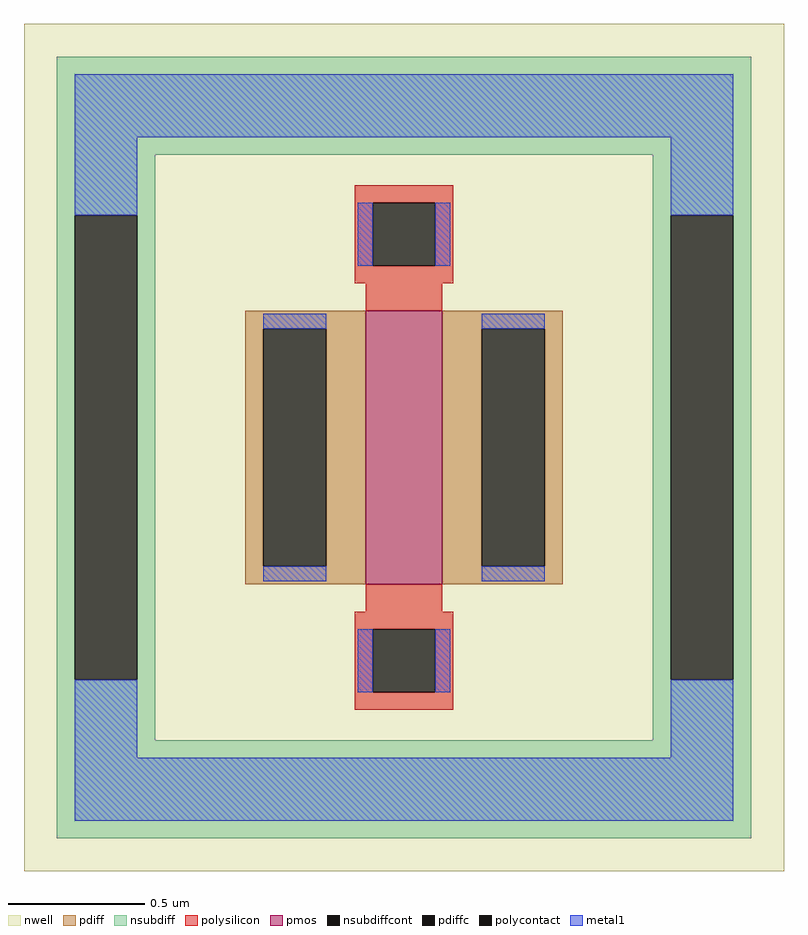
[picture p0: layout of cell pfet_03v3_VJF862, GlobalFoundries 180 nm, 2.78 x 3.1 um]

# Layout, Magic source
magic
tech gf180mcuD
magscale 1 10
<< nwell >>
rect -278 -310 278 310
<< pmos >>
rect -28 -100 28 100
<< pdiff >>
rect -116 87 -28 100
rect -116 -87 -103 87
rect -57 -87 -28 87
rect -116 -100 -28 -87
rect 28 87 116 100
rect 28 -87 57 87
rect 103 -87 116 87
rect 28 -100 116 -87
<< pdiffc >>
rect -103 -87 -57 87
rect 57 -87 103 87
<< nsubdiff >>
rect -254 214 254 286
rect -254 170 -182 214
rect -254 -170 -241 170
rect -195 -170 -182 170
rect 182 170 254 214
rect -254 -214 -182 -170
rect 182 -170 195 170
rect 241 -170 254 170
rect 182 -214 254 -170
rect -254 -286 254 -214
<< nsubdiffcont >>
rect -241 -170 -195 170
rect 195 -170 241 170
<< polysilicon >>
rect -36 179 36 192
rect -36 133 -23 179
rect 23 133 36 179
rect -36 120 36 133
rect -28 100 28 120
rect -28 -120 28 -100
rect -36 -133 36 -120
rect -36 -179 -23 -133
rect 23 -179 36 -133
rect -36 -192 36 -179
<< polycontact >>
rect -23 133 23 179
rect -23 -179 23 -133
<< metal1 >>
rect -241 227 241 273
rect -241 170 -195 227
rect -34 133 -23 179
rect 23 133 34 179
rect 195 170 241 227
rect -103 87 -57 98
rect -103 -98 -57 -87
rect 57 87 103 98
rect 57 -98 103 -87
rect -241 -227 -195 -170
rect -34 -179 -23 -133
rect 23 -179 34 -133
rect 195 -227 241 -170
rect -241 -273 241 -227
<< properties >>
string FIXED_BBOX -218 -250 218 250
string gencell pfet_03v3
string library gf180mcu
string parameters w 1.0 l 0.28 m 1 nf 1 diffcov 100 polycov 100 guard 1 glc 1 grc 1 gtc 0 gbc 0 tbcov 100 rlcov 100 topc 1 botc 1 poverlap 0 doverlap 1 lmin 0.28 wmin 0.22 class mosfet full_metal 1 compatible {pfet_03v3 pfet_06v0} ad {int((nf+1)/2) * W/nf * 0.18u} as {int((nf+2)/2) * W/nf * 0.18u} pd {2*int((nf+1)/2) * (W/nf + 0.18u)} ps {2*int((nf+2)/2) * (W/nf + 0.18u)} nrd {0.18u / W} nrs {0.18u / W} sa 0 sb 0 sd 0
<< end >>
